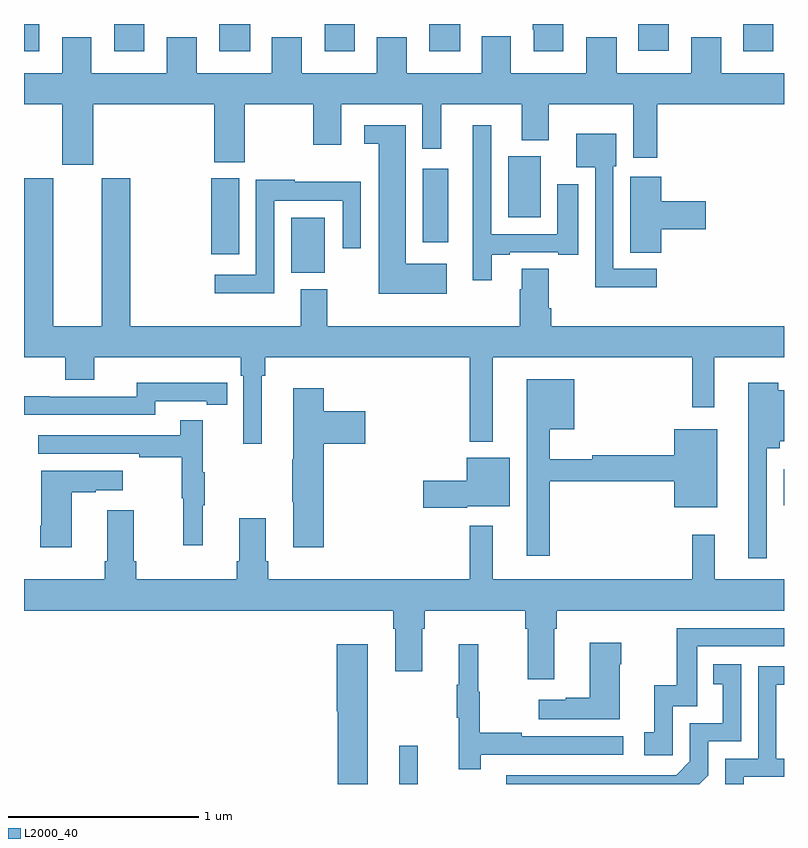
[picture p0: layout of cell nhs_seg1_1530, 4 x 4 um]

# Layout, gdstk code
import gdstk
lib = gdstk.Library(unit=1e-6, precision=1e-09)
def R(c, l, rs):  # rectangles x0, y0, x1, y1
    for r in rs: c.add(gdstk.rectangle(r[:2], r[2:], *l))
def P(c, l, *ps):  # polygons
    for p in ps: c.add(gdstk.Polygon(p, *l))
L2000_40 = (2000, 40)

nhs_seg1_1530 = lib.new_cell('nhs_seg1_1530')
R(nhs_seg1_1530, L2000_40, [(196.976,504.199,197.073,504.4), (198.998,505.667,199,505.855), (196.406,506.891,196.582,507.178), (195.985,506.988,196.132,507.387), (197.099,507.051,197.233,507.436), (197.549,507.182,197.719,507.502), (195,508.056,195.079,508.199), (195.476,508.056,195.634,508.199), (196.028,508.056,196.192,508.199), (196.583,508.056,196.741,508.199), (197.132,508.056,197.296,508.199), (198.785,508.056,198.943,508.199), (198.233,508.059,198.394,508.199)])
P(nhs_seg1_1530, L2000_40, [(197.839,508.199),(197.677,508.199),(197.677,508.168),(197.684,508.168),(197.684,508.056),(197.839,508.056)],
  [(195.364,507.776),(196.001,507.776),(196.001,507.472),(196.161,507.472),(196.161,507.776),(196.522,507.776),(196.522,507.564),(196.669,507.564),(196.669,507.776),(197.096,507.776),(197.096,507.543),(197.197,507.543),(197.197,507.776),(197.621,507.776),(197.621,507.587),(197.761,507.587),(197.761,507.776),(198.206,507.776),(198.206,507.495),(198.332,507.495),(198.332,507.776),(199,507.776),(199,507.94),(198.67,507.94),(198.67,508.13),(198.512,508.13),(198.512,507.94),(198.121,507.94),(198.121,508.13),(197.96,508.13),(197.96,507.94),(197.563,507.94),(197.563,508.135),(197.408,508.135),(197.408,507.94),(197.014,507.94),(197.014,508.129),(196.856,508.129),(196.856,507.94),(196.462,507.94),(196.462,508.129),(196.304,508.129),(196.304,507.94),(195.91,507.94),(195.91,508.129),(195.752,508.129),(195.752,507.94),(195.355,507.94),(195.355,508.129),(195.2,508.129),(195.2,507.94),(195,507.94),(195,507.776),(195.2,507.776),(195.2,507.459),(195.364,507.459)],
  [(197.461,506.985),(197.557,506.985),(197.557,506.997),(197.813,506.997),(197.813,506.985),(197.917,506.985),(197.917,507.355),(197.807,507.355),(197.807,507.093),(197.46,507.093),(197.46,507.667),(197.363,507.667),(197.363,506.85),(197.461,506.85)],
  [(197.224,506.938),(197.008,506.938),(197.008,507.666),(196.791,507.666),(196.791,507.569),(196.868,507.569),(196.868,506.78),(197.224,506.78)],
  [(198.331,506.91),(198.102,506.91),(198.102,507.45),(198.118,507.45),(198.118,507.622),(197.906,507.622),(197.906,507.446),(198.006,507.446),(198.006,506.813),(198.331,506.813)],
  [(198.353,507.119),(198.589,507.119),(198.589,507.266),(198.353,507.266),(198.353,507.394),(198.191,507.394),(198.191,506.995),(198.353,506.995)],
  [(196.252,506.348),(196.271,506.348),(196.271,506.444),(197.346,506.444),(197.346,506),(197.467,506),(197.467,506.444),(198.517,506.444),(198.517,506.181),(198.634,506.181),(198.634,506.444),(199,506.444),(199,506.608),(197.774,506.608),(197.774,506.704),(197.761,506.704),(197.761,506.912),(197.621,506.912),(197.621,506.804),(197.609,506.804),(197.609,506.608),(196.597,506.608),(196.597,506.803),(196.457,506.803),(196.457,506.608),(195.558,506.608),(195.558,507.387),(195.41,507.387),(195.41,506.608),(195.154,506.608),(195.154,507.387),(195.002,507.387),(195.002,506.608),(195,506.608),(195,506.444),(195.218,506.444),(195.218,506.327),(195.37,506.327),(195.37,506.444),(196.142,506.444),(196.142,506.348),(196.155,506.348),(196.155,505.989),(196.252,505.989)],
  [(196.317,507.269),(196.677,507.269),(196.677,507.018),(196.773,507.018),(196.773,507.37),(196.424,507.37),(196.424,507.38),(196.221,507.38),(196.221,506.88),(196.005,506.88),(196.005,506.783),(196.317,506.783)],
  [(197.767,505.792),(198.422,505.792),(198.422,505.655),(198.649,505.655),(198.649,506.065),(198.422,506.065),(198.422,505.928),(197.992,505.928),(197.992,505.909),(197.767,505.909),(197.767,506.066),(197.896,506.066),(197.896,506.329),(197.645,506.329),(197.645,505.401),(197.767,505.401)],
  [(198.909,505.967),(198.978,505.967),(198.978,506.003),(199,506.003),(199,506.272),(198.97,506.272),(198.97,506.311),(198.812,506.311),(198.812,505.386),(198.909,505.386)],
  [(195.69,506.214),(195.962,506.214),(195.962,506.194),(196.07,506.194),(196.07,506.31),(195.962,506.31),(195.962,506.311),(195.594,506.311),(195.594,506.238),(195.134,506.238),(195.134,506.24),(195,506.24),(195,506.142),(195.69,506.142)],
  [(196.577,505.991),(196.795,505.991),(196.795,506.161),(196.577,506.161),(196.577,506.281),(196.418,506.281),(196.418,505.907),(196.411,505.907),(196.411,505.684),(196.418,505.684),(196.418,505.446),(196.577,505.446)],
  [(195.941,505.667),(195.952,505.667),(195.952,505.841),(195.941,505.841),(195.941,506.113),(195.823,506.113),(195.823,506.034),(195.075,506.034),(195.075,505.938),(195.607,505.938),(195.607,505.918),(195.831,505.918),(195.831,505.704),(195.838,505.704),(195.838,505.455),(195.941,505.455)],
  [(197.334,505.661),(197.557,505.661),(197.557,505.915),(197.33,505.915),(197.33,505.796),(197.1,505.796),(197.1,505.654),(197.334,505.654)],
  [(195.25,505.735),(195.377,505.735),(195.377,505.745),(195.52,505.745),(195.52,505.849),(195.092,505.849),(195.092,505.558),(195.085,505.558),(195.085,505.446),(195.25,505.446)],
  [(199,505.276),(198.635,505.276),(198.635,505.51),(198.517,505.51),(198.517,505.276),(197.467,505.276),(197.467,505.558),(197.346,505.558),(197.346,505.276),(196.286,505.276),(196.286,505.372),(196.273,505.372),(196.273,505.597),(196.133,505.597),(196.133,505.372),(196.121,505.372),(196.121,505.276),(195.59,505.276),(195.59,505.372),(195.577,505.372),(195.577,505.639),(195.437,505.639),(195.437,505.372),(195.425,505.372),(195.425,505.276),(195,505.276),(195,505.112),(196.943,505.112),(196.943,505.016),(196.955,505.016),(196.955,504.792),(197.095,504.792),(197.095,505.016),(197.108,505.016),(197.108,505.112),(197.639,505.112),(197.639,505.016),(197.651,505.016),(197.651,504.75),(197.791,504.75),(197.791,505.016),(197.804,505.016),(197.804,505.112),(199,505.112)],
  [(198.414,504.609),(198.543,504.609),(198.543,504.924),(199,504.924),(199,505.02),(198.435,505.02),(198.435,504.718),(198.317,504.718),(198.317,504.471),(198.264,504.471),(198.264,504.351),(198.414,504.351)],
  [(198.136,504.83),(198.144,504.83),(198.144,504.943),(197.978,504.943),(197.978,504.653),(197.852,504.653),(197.852,504.643),(197.709,504.643),(197.709,504.539),(198.136,504.539)],
  [(197.405,504.354),(198.154,504.354),(198.154,504.45),(197.621,504.45),(197.621,504.47),(197.398,504.47),(197.398,504.684),(197.39,504.684),(197.39,504.934),(197.288,504.934),(197.288,504.721),(197.277,504.721),(197.277,504.547),(197.288,504.547),(197.288,504.276),(197.405,504.276)],
  [(196.81,504.934),(196.646,504.934),(196.646,504.582),(196.652,504.582),(196.652,504.199),(196.81,504.199)],
  [(198.6,504.246),(198.6,504.423),(198.774,504.423),(198.774,504.829),(198.628,504.829),(198.628,504.723),(198.677,504.723),(198.677,504.519),(198.504,504.519),(198.504,504.318),(198.432,504.246),(197.538,504.246),(197.538,504.199),(198.553,504.199)],
  [(198.787,504.237),(199,504.237),(199,504.333),(198.96,504.333),(198.96,504.722),(199,504.722),(199,504.819),(198.864,504.819),(198.864,504.333),(198.69,504.333),(198.69,504.199),(198.787,504.199)])

lib.write_gds('nhs_seg1_1530.gds')
